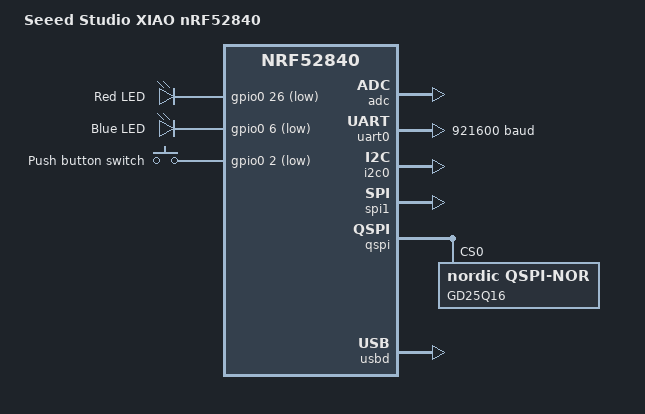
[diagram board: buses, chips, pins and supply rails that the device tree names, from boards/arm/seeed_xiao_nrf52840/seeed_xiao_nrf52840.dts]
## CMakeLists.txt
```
cmake_minimum_required(VERSION 3.20.0)

set(BOARD_ROOT ${CMAKE_CURRENT_LIST_DIR})

# The CI workflow only knows the two nRF52840 board names. The XIAO build is
# the development target; the other job is redirected to an nRF52832 board to
# check that the firmware fits the coin cell tags.
if(BOARD STREQUAL "adafruit_feather_nrf52840")
    set(BOARD nrf52dk_nrf52832 CACHE STRING "" FORCE)
    set(CONF_FILE "${CMAKE_CURRENT_LIST_DIR}/prj_tag.conf;${CMAKE_CURRENT_LIST_DIR}/tag.conf")
else()
    set(CONF_FILE "${CMAKE_CURRENT_LIST_DIR}/prj_tag.conf;${CMAKE_CURRENT_LIST_DIR}/xiao.conf")
endif()

set_property(GLOBAL APPEND PROPERTY extra_post_build_commands
    COMMAND sh ${CMAKE_CURRENT_LIST_DIR}/ramtop.sh)

find_package(Zephyr REQUIRED HINTS $ENV{ZEPHYR_BASE})

# debug build: logs go out over USB CDC ACM, so remove the driver's own
# "ring buffer full" message, which otherwise floods the log recursively
set(_cdc_acm_src ${ZEPHYR_BASE}/subsys/usb/device/class/cdc_acm.c)
file(READ ${_cdc_acm_src} _cdc_acm_content)
string(REGEX REPLACE "LOG_[A-Z]+\\(\"Ring buffer full, drain buffer\"\\);" "" _cdc_acm_patched "${_cdc_acm_content}")
if(NOT "${_cdc_acm_patched}" STREQUAL "${_cdc_acm_content}")
    file(WRITE ${_cdc_acm_src} "${_cdc_acm_patched}")
    message(STATUS "patched cdc_acm.c")
else()
    message(WARNING "cdc_acm.c not patched")
endif()

include(${CMAKE_CURRENT_LIST_DIR}/gatt_dm_patch.cmake)
project(NONE)

target_sources(app PRIVATE
    src/tag_main.c
    src/ble_out.c
    src/battery.c
    src/hid_parse.c
    src/remap.c
)
```

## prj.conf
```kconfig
CONFIG_LOG=y
CONFIG_LOG_MAX_LEVEL=4
CONFIG_LOG_FUNC_NAME_PREFIX_INF=y
CONFIG_LOG_BUFFER_SIZE=16384

CONFIG_USE_DT_CODE_PARTITION=y
CONFIG_KERNEL_BIN_NAME="remapper"
CONFIG_BUILD_OUTPUT_UF2=y

CONFIG_CPLUSPLUS=y
CONFIG_STD_CPP17=y
CONFIG_NEWLIB_LIBC=y
CONFIG_LIB_CPLUSPLUS=y

CONFIG_HEAP_MEM_POOL_SIZE=16384
CONFIG_SYSTEM_WORKQUEUE_STACK_SIZE=16384

CONFIG_FLASH=y
CONFIG_FLASH_PAGE_LAYOUT=y
CONFIG_FLASH_MAP=y
CONFIG_NVS=y
CONFIG_SETTINGS=y

CONFIG_GPIO=y

CONFIG_BT=y
CONFIG_BT_DEBUG_LOG=y
CONFIG_BT_CENTRAL=y
CONFIG_BT_SMP=y
CONFIG_BT_L2CAP_TX_BUF_COUNT=5
CONFIG_BT_GATT_CLIENT=y
CONFIG_BT_GATT_DM=y
CONFIG_BT_HOGP=y
CONFIG_BT_SCAN=y
CONFIG_BT_SCAN_FILTER_ENABLE=y
CONFIG_BT_SCAN_UUID_CNT=1
CONFIG_BT_SCAN_ADDRESS_CNT=8
CONFIG_BT_PRIVACY=y
CONFIG_BT_SETTINGS=y
CONFIG_BT_MAX_CONN=8
CONFIG_BT_MAX_PAIRED=32
CONFIG_BT_KEYS_OVERWRITE_OLDEST=y
CONFIG_BT_GATT_DM_MAX_ATTRS=100
CONFIG_BT_HOGP_REPORTS_MAX=32
CONFIG_BT_DEVICE_NAME="HID Remapper Bluetooth"
CONFIG_ENABLE_HID_INT_OUT_EP=y

CONFIG_USB_DEVICE_STACK=y
CONFIG_USB_DEVICE_HID=y
CONFIG_USB_HID_DEVICE_COUNT=2
CONFIG_USB_HID_POLL_INTERVAL_MS=1
CONFIG_USB_NRFX_EVT_QUEUE_SIZE=64
CONFIG_USB_DEVICE_VID=0xCAFE
CONFIG_USB_DEVICE_PID=0xBAF2
CONFIG_USB_DEVICE_MANUFACTURER="nRF52840"
CONFIG_USB_DEVICE_PRODUCT="HID Remapper Bluetooth"
CONFIG_USB_SELF_POWERED=n
CONFIG_USB_DEVICE_SOF=y
CONFIG_HID_INTERRUPT_EP_MPS=64

# Bluetooth HID output (peripheral role towards the host)
CONFIG_BT_PERIPHERAL=y
CONFIG_BT_DEVICE_APPEARANCE=961
CONFIG_BT_HIDS=y
CONFIG_BT_HIDS_MAX_CLIENT_COUNT=1
CONFIG_BT_HIDS_INPUT_REP_MAX=2
CONFIG_BT_HIDS_OUTPUT_REP_MAX=1
CONFIG_BT_HIDS_FEATURE_REP_MAX=1
CONFIG_BT_HIDS_DEFAULT_PERM_RW_ENCRYPT=y
CONFIG_BT_GATT_UUID16_POOL_SIZE=40
CONFIG_BT_GATT_CHRC_POOL_SIZE=20
CONFIG_BT_CONN_CTX=y
CONFIG_BT_DIS=y
CONFIG_BT_DIS_PNP=y
CONFIG_BT_DIS_MANUF="nRF52840"
CONFIG_BT_DIS_MODEL="HID Remapper Bluetooth"
CONFIG_BT_DIS_PNP_VID_SRC=2
CONFIG_BT_DIS_PNP_VID=0xCAFE
CONFIG_BT_DIS_PNP_PID=0xBAF2
CONFIG_BT_DIS_PNP_VER=0x0100

# debug build: logs over USB CDC ACM
CONFIG_USB_COMPOSITE_DEVICE=y
CONFIG_USB_CDC_ACM=y
CONFIG_SERIAL=y
CONFIG_CONSOLE=y
CONFIG_UART_CONSOLE=y
CONFIG_UART_LINE_CTRL=y
CONFIG_LOG_BACKEND_UART=y
```

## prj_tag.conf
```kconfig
CONFIG_LOG=y
CONFIG_LOG_BUFFER_SIZE=1024
CONFIG_KERNEL_BIN_NAME="remapper"
CONFIG_REBOOT=y

CONFIG_HEAP_MEM_POOL_SIZE=8192
CONFIG_SYSTEM_WORKQUEUE_STACK_SIZE=4096
CONFIG_MAIN_STACK_SIZE=4096

CONFIG_FLASH=y
CONFIG_FLASH_PAGE_LAYOUT=y
CONFIG_FLASH_MAP=y
CONFIG_NVS=y
CONFIG_SETTINGS=y

CONFIG_GPIO=y

CONFIG_BT=y
CONFIG_BT_DEVICE_NAME="HID Remapper Bluetooth"
CONFIG_BT_DEVICE_APPEARANCE=961
CONFIG_BT_SMP=y
CONFIG_BT_SETTINGS=y
CONFIG_BT_PRIVACY=y
CONFIG_BT_MAX_CONN=2
CONFIG_BT_MAX_PAIRED=4
CONFIG_BT_KEYS_OVERWRITE_OLDEST=y
CONFIG_BT_L2CAP_TX_BUF_COUNT=5

# central role: the keyboard
CONFIG_BT_CENTRAL=y
CONFIG_BT_GATT_CLIENT=y
CONFIG_BT_GATT_DM=y
CONFIG_BT_GATT_DM_MAX_ATTRS=100
CONFIG_BT_HOGP=y
CONFIG_BT_HOGP_REPORTS_MAX=12
CONFIG_BT_SCAN=y
CONFIG_BT_SCAN_FILTER_ENABLE=y
CONFIG_BT_SCAN_UUID_CNT=1
CONFIG_BT_SCAN_ADDRESS_CNT=4

# peripheral role: we are a keyboard for the host
CONFIG_BT_PERIPHERAL=y
CONFIG_BT_HIDS=y
CONFIG_BT_HIDS_MAX_CLIENT_COUNT=1
CONFIG_BT_HIDS_INPUT_REP_MAX=2
CONFIG_BT_HIDS_OUTPUT_REP_MAX=1
CONFIG_BT_HIDS_FEATURE_REP_MAX=1
CONFIG_BT_HIDS_DEFAULT_PERM_RW_ENCRYPT=y
CONFIG_BT_GATT_UUID16_POOL_SIZE=40
CONFIG_BT_GATT_CHRC_POOL_SIZE=20
CONFIG_BT_CONN_CTX=y
CONFIG_BT_DIS=y
CONFIG_BT_DIS_PNP=y
CONFIG_BT_DIS_MANUF="nRF52840"
CONFIG_BT_DIS_MODEL="HID Remapper Bluetooth"
CONFIG_BT_DIS_PNP_VID_SRC=2
CONFIG_BT_DIS_PNP_VID=0xCAFE
CONFIG_BT_DIS_PNP_PID=0xBAF2
CONFIG_BT_DIS_PNP_VER=0x0100

# battery level for the host
CONFIG_ADC=y
CONFIG_BT_BAS=y

# host link: let the board sleep through most connection events when no key
# is pressed (it still sends at once when there is something to send)
CONFIG_BT_GAP_AUTO_UPDATE_CONN_PARAMS=y
CONFIG_BT_PERIPHERAL_PREF_MIN_INT=12
CONFIG_BT_PERIPHERAL_PREF_MAX_INT=12
CONFIG_BT_PERIPHERAL_PREF_LATENCY=30
CONFIG_BT_PERIPHERAL_PREF_TIMEOUT=400
```

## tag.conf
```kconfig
# Coin cell nRF52832 tags. No serial port (it costs current); logs are
# available over the debug probe (RTT) instead.
CONFIG_SERIAL=n
CONFIG_CONSOLE=n
CONFIG_UART_CONSOLE=n
CONFIG_USE_SEGGER_RTT=y
CONFIG_LOG_BACKEND_RTT=y
CONFIG_LOG_BACKEND_UART=n

# The tags are not guaranteed to have the DC/DC inductors or a 32 kHz
# crystal, and the firmware doesn't start without them if they're assumed.
CONFIG_BOARD_ENABLE_DCDC=n
CONFIG_CLOCK_CONTROL_NRF_K32SRC_RC=y
```

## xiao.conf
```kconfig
# Seeed XIAO nRF52840: development target. UF2 bootloader, logs over USB serial.
CONFIG_USE_DT_CODE_PARTITION=y
CONFIG_BUILD_OUTPUT_UF2=y

CONFIG_USB_DEVICE_STACK=y
CONFIG_USB_DEVICE_VID=0xCAFE
CONFIG_USB_DEVICE_PID=0xBAF3
CONFIG_USB_DEVICE_MANUFACTURER="nRF52840"
CONFIG_USB_DEVICE_PRODUCT="Keyboard Relay (debug)"
CONFIG_USB_CDC_ACM=y
CONFIG_SERIAL=y
CONFIG_CONSOLE=y
CONFIG_UART_CONSOLE=y
CONFIG_UART_LINE_CTRL=y
CONFIG_LOG_BACKEND_UART=y
```

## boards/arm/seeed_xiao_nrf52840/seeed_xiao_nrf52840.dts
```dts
/*
 * Copyright (c) 2020 Tobias Svehagen
 *
 * SPDX-License-Identifier: Apache-2.0
 */

/dts-v1/;
#include <nordic/nrf52840_qiaa.dtsi>
#include "seeed_xiao_nrf52840-pinctrl.dtsi"

/ {
	model = "Seeed Studio XIAO nRF52840";
	compatible = "seeed,xiao-nrf52840";

	chosen {
		zephyr,console = &cdc_acm_uart0;
		zephyr,shell-uart = &uart0;
		zephyr,uart-mcumgr = &uart0;
		zephyr,bt-mon-uart = &uart0;
		zephyr,bt-c2h-uart = &uart0;
		zephyr,sram = &sram0;
		zephyr,flash = &flash0;
		zephyr,code-partition = &code_partition;
	};

	leds {
		compatible = "gpio-leds";
		led0: led_0 {
			gpios = <&gpio0 26 GPIO_ACTIVE_LOW>;
			label = "Red LED";
		};
		led1: led_1 {
			gpios = <&gpio0 6 GPIO_ACTIVE_LOW>;
			label = "Blue LED";
		};
	};

	buttons {
		compatible = "gpio-keys";
		button0: button_0 {
			gpios = <&gpio0 2 (GPIO_PULL_UP | GPIO_ACTIVE_LOW)>;
			label = "Push button switch";
		};
	};

	/* These aliases are provided for compatibility with samples */
	aliases {
		led0 = &led0;
		led1 = &led1;
		sw0 = &button0;
	};
};

&adc {
	status = "okay";
};

&gpiote {
	status = "okay";
};

&gpio0 {
	status = "okay";
};

&gpio1 {
	status = "okay";
};

&uart0 {
	compatible = "nordic,nrf-uart";
	current-speed = <921600>;
	status = "okay";
	pinctrl-0 = <&uart0_default>;
	pinctrl-1 = <&uart0_sleep>;
	pinctrl-names = "default", "sleep";
};

&i2c0 {
	compatible = "nordic,nrf-twi";
	status = "okay";
	pinctrl-0 = <&i2c0_default>;
	pinctrl-1 = <&i2c0_sleep>;
	pinctrl-names = "default", "sleep";
};

&spi1 {
	compatible = "nordic,nrf-spi";
	status = "okay";
	pinctrl-0 = <&spi1_default>;
	pinctrl-1 = <&spi1_sleep>;
	pinctrl-names = "default", "sleep";
};

&qspi {
	status = "okay";
	pinctrl-0 = <&qspi_default>;
	pinctrl-1 = <&qspi_sleep>;
	pinctrl-names = "default", "sleep";
	gd25q16: gd25q16@0 {
		compatible = "nordic,qspi-nor";
		reg = <0>;
		writeoc = "pp4o";
		readoc = "read4io";
		sck-frequency = <16000000>;
		label = "GD25Q16";
		jedec-id = [c8 40 15];
		size = <16777216>;
		has-dpd;
		t-enter-dpd = <20000>;
		t-exit-dpd = <20000>;
		quad-enable-requirements = "S2B1v1";
	};
};

&flash0 {

	partitions {
		compatible = "fixed-partitions";
		#address-cells = <1>;
		#size-cells = <1>;

        sd_partition: partition@0 {
            label = "softdevice";
            reg = <0x00000000 0x00027000>;
        };

        code_partition: partition@27000 {
            label = "code_partition";
            reg = <0x00027000 0x000c5000>;
        };

        storage_partition: partition@ec000 {
            label = "storage";
            reg = <0x000ec000 0x00008000>;
        };

        boot_partition: partition@f4000 {
            label = "adafruit_boot";
            reg = <0x000f4000 0x0000c000>;
        };
	};
};

zephyr_udc0: &usbd {
	compatible = "nordic,nrf-usbd";
	status = "okay";

	cdc_acm_uart0: cdc_acm_uart0 {
		compatible = "zephyr,cdc-acm-uart";
	};
};
```

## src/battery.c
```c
#include "battery.h"

#include <hal/nrf_saadc.h>
#include <zephyr/bluetooth/services/bas.h>
#include <zephyr/device.h>
#include <zephyr/drivers/adc.h>
#include <zephyr/kernel.h>
#include <zephyr/logging/log.h>

LOG_MODULE_REGISTER(battery, LOG_LEVEL_INF);

#define MEASURE_INTERVAL K_MINUTES(5)

static const struct device* const adc = DEVICE_DT_GET(DT_NODELABEL(adc));

// VDD measured directly: gain 1/6 with the 0.6 V internal reference gives a
// 0..3.6 V range.
static const struct adc_channel_cfg channel_cfg = {
    .gain = ADC_GAIN_1_6,
    .reference = ADC_REF_INTERNAL,
    .acquisition_time = ADC_ACQ_TIME(ADC_ACQ_TIME_MICROSECONDS, 10),
    .channel_id = 0,
    .input_positive = SAADC_CH_PSELP_PSELP_VDD,
};

static uint16_t millivolts;
static uint8_t percent = 100;

// CR2032 under a light load: flat around 2.9-3.0 V for most of its life,
// then it drops quickly.
static const struct {
    uint16_t mv;
    uint8_t pct;
} curve[] = {
    { 3000, 100 },
    { 2900, 80 },
    { 2800, 60 },
    { 2700, 40 },
    { 2600, 20 },
    { 2400, 5 },
    { 2000, 0 },
};

static uint8_t mv_to_percent(uint16_t mv) {
    if (mv >= curve[0].mv) {
        return 100;
    }
    for (int i = 1; i < ARRAY_SIZE(curve); i++) {
        if (mv >= curve[i].mv) {
            uint32_t span_mv = curve[i - 1].mv - curve[i].mv;
            uint32_t span_pct = curve[i - 1].pct - curve[i].pct;
            return curve[i].pct + ((mv - curve[i].mv) * span_pct) / span_mv;
        }
    }
    return 0;
}

static void measure_work_fn(struct k_work* work);
static K_WORK_DELAYABLE_DEFINE(measure_work, measure_work_fn);

static void measure_work_fn(struct k_work* work) {
    int16_t sample = 0;
    const struct adc_sequence sequence = {
        .channels = BIT(0),
        .buffer = &sample,
        .buffer_size = sizeof(sample),
        .resolution = 12,
    };

    int err = adc_read(adc, &sequence);
    if (err) {
        LOG_ERR("adc_read failed: %d", err);
    } else {
        if (sample < 0) {
            sample = 0;
        }
        millivolts = ((uint32_t) sample * 3600) / 4096;
        percent = mv_to_percent(millivolts);
        bt_bas_set_battery_level(percent);
        LOG_INF("battery: %u mV, %u%%", millivolts, percent);
    }

    k_work_reschedule(&measure_work, MEASURE_INTERVAL);
}

void battery_init(void) {
    if (!device_is_ready(adc)) {
        LOG_ERR("ADC not ready");
        return;
    }

    int err = adc_channel_setup(adc, &channel_cfg);
    if (err) {
        LOG_ERR("adc_channel_setup failed: %d", err);
        return;
    }

    k_work_reschedule(&measure_work, K_SECONDS(2));
}

uint16_t battery_millivolts(void) {
    return millivolts;
}

uint8_t battery_percent(void) {
    return percent;
}
```

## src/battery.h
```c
#ifndef _BATTERY_H_
#define _BATTERY_H_

#include <stdint.h>

// Measures the supply voltage (the coin cell on the tags) and publishes it
// through the Bluetooth Battery Service, so the host can show the level.
void battery_init(void);
uint16_t battery_millivolts(void);
uint8_t battery_percent(void);

#endif
```

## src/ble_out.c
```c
#include "ble_out.h"

#include <string.h>

#include <bluetooth/services/hids.h>
#include <zephyr/bluetooth/bluetooth.h>
#include <zephyr/bluetooth/conn.h>
#include <zephyr/bluetooth/gatt.h>
#include <zephyr/bluetooth/uuid.h>
#include <zephyr/kernel.h>
#include <zephyr/logging/log.h>
#include <zephyr/settings/settings.h>

LOG_MODULE_REGISTER(ble_out, LOG_LEVEL_INF);

// These must match firmware/src/our_descriptor.cc (keyboard/mouse descriptor).
#define REPORT_ID_KEYBOARD 2
#define REPORT_ID_CONSUMER 3
#define REPORT_ID_LEDS 98

#define KEYBOARD_REPORT_SIZE 16
#define CONSUMER_REPORT_SIZE 3
#define LEDS_REPORT_SIZE 1

#define KEYBOARD_REPORT_IDX 0
#define CONSUMER_REPORT_IDX 1

BT_HIDS_DEF(hids_obj, KEYBOARD_REPORT_SIZE, CONSUMER_REPORT_SIZE, LEDS_REPORT_SIZE);

// Keyboard and consumer collections copied from our_report_descriptor_kb_mouse.
// The mouse part is left out: the BLE report map is limited to 255 bytes and
// the host should see a plain keyboard.
static const uint8_t report_map[] = {
    0x05, 0x01,                // Usage Page (Generic Desktop Ctrls)
    0x09, 0x06,                // Usage (Keyboard)
    0xA1, 0x01,                // Collection (Application)
    0x85, REPORT_ID_KEYBOARD,  //   Report ID (REPORT_ID_KEYBOARD)
    0x05, 0x07,                //   Usage Page (Kbrd/Keypad)
    0x19, 0xE0,                //   Usage Minimum (0xE0)
    0x29, 0xE7,                //   Usage Maximum (0xE7)
    0x15, 0x00,                //   Logical Minimum (0)
    0x25, 0x01,                //   Logical Maximum (1)
    0x75, 0x01,                //   Report Size (1)
    0x95, 0x08,                //   Report Count (8)
    0x81, 0x02,                //   Input (Data,Var,Abs,No Wrap,Linear,Preferred State,No Null Position)
    0x19, 0x04,                //   Usage Minimum (0x04)
    0x29, 0x73,                //   Usage Maximum (0x73)
    0x95, 0x70,                //   Report Count (112)
    0x81, 0x02,                //   Input (Data,Var,Abs,No Wrap,Linear,Preferred State,No Null Position)
    0x19, 0x87,                //   Usage Minimum (0x87)
    0x29, 0x8B,                //   Usage Maximum (0x8B)
    0x95, 0x05,                //   Report Count (5)
    0x81, 0x02,                //   Input (Data,Var,Abs,No Wrap,Linear,Preferred State,No Null Position)
    0x09, 0x90,                //   Usage (0x90)
    0x09, 0x91,                //   Usage (0x91)
    0x95, 0x02,                //   Report Count (2)
    0x81, 0x02,                //   Input (Data,Var,Abs,No Wrap,Linear,Preferred State,No Null Position)
    0x95, 0x01,                //   Report Count (1)
    0x81, 0x03,                //   Input (Const,Var,Abs,No Wrap,Linear,Preferred State,No Null Position)
    0x85, REPORT_ID_LEDS,      //   Report ID (REPORT_ID_LEDS)
    0x05, 0x08,                //   Usage Page (LEDs)
    0x95, 0x05,                //   Report Count (5)
    0x19, 0x01,                //   Usage Minimum (Num Lock)
    0x29, 0x05,                //   Usage Maximum (Kana)
    0x91, 0x02,                //   Output (Data,Var,Abs,No Wrap,Linear,Preferred State,No Null Position,Non-volatile)
    0x95, 0x01,                //   Report Count (1)
    0x75, 0x03,                //   Report Size (3)
    0x91, 0x03,                //   Output (Const,Var,Abs,No Wrap,Linear,Preferred State,No Null Position,Non-volatile)
    0xC0,                      // End Collection

    0x05, 0x0C,                // Usage Page (Consumer)
    0x09, 0x01,                // Usage (Consumer Control)
    0xA1, 0x01,                // Collection (Application)
    0x85, REPORT_ID_CONSUMER,  //   Report ID (REPORT_ID_CONSUMER)
    0x15, 0x00,                //   Logical Minimum (0)
    0x25, 0x01,                //   Logical Maximum (1)
    0x09, 0xB5,                //   Usage (Scan Next Track)
    0x09, 0xB6,                //   Usage (Scan Previous Track)
    0x09, 0xB7,                //   Usage (Stop)
    0x09, 0xCD,                //   Usage (Play/Pause)
    0x09, 0xE2,                //   Usage (Mute)
    0x09, 0xE9,                //   Usage (Volume Increment)
    0x09, 0xEA,                //   Usage (Volume Decrement)
    0x09, 0x30,                //   Usage (Power)
    0x09, 0x40,                //   Usage (Menu)
    0x09, 0x6F,                //   Usage (Display Brightness Increment)
    0x09, 0x70,                //   Usage (Display Brightness Decrement)
    0x09, 0x71,                //   Usage (Display Brightness)
    0x09, 0xB8,                //   Usage (Eject)
    0x09, 0xCF,                //   Usage (Voice Command)
    0x0A, 0x21, 0x02,          //   Usage (AC Search)
    0x0A, 0x23, 0x02,          //   Usage (AC Home)
    0x0A, 0x9D, 0x02,          //   Usage (Keyboard Layout Select / Globe)
    0x75, 0x01,                //   Report Size (1)
    0x95, 0x11,                //   Report Count (17)
    0x81, 0x02,                //   Input (Data,Var,Abs,No Wrap,Linear,Preferred State,No Null Position)
    0x05, 0x0B,                //   Usage Page (Telephony)
    0x09, 0x2F,                //   Usage (Phone Mute)
    0x95, 0x01,                //   Report Count (1)
    0x81, 0x02,                //   Input (Data,Var,Abs,No Wrap,Linear,Preferred State,No Null Position)
    0x95, 0x06,                //   Report Count (6)
    0x81, 0x03,                //   Input (Const,Var,Abs,No Wrap,Linear,Preferred State,No Null Position)
    0xC0,                      // End Collection
};

BUILD_ASSERT(sizeof(report_map) <= 255, "BLE report map too long");

static struct bt_conn* host_conn;
static atomic_t in_flight = ATOMIC_INIT(0);

static uint8_t pending_data[2][KEYBOARD_REPORT_SIZE];
static bool pending[2];
static bt_addr_le_t host_addr;
static bool host_addr_valid;

static const struct bt_data ad[] = {
    BT_DATA_BYTES(BT_DATA_GAP_APPEARANCE, 0xC1, 0x03),  // keyboard
    BT_DATA_BYTES(BT_DATA_FLAGS, (BT_LE_AD_GENERAL | BT_LE_AD_NO_BREDR)),
    BT_DATA_BYTES(BT_DATA_UUID16_ALL, BT_UUID_16_ENCODE(BT_UUID_HIDS_VAL)),
};

static const struct bt_data sd[] = {
    BT_DATA(BT_DATA_NAME_COMPLETE, CONFIG_BT_DEVICE_NAME, sizeof(CONFIG_BT_DEVICE_NAME) - 1),
};

static void adv_work_fn(struct k_work* work);
static K_WORK_DELAYABLE_DEFINE(adv_work, adv_work_fn);

// Advertise quickly for a while so the host reconnects at once, then slowly
// (about once a second) so that waiting for an absent host costs very little.
#define ADV_FAST_PERIOD K_MINUTES(3)
#define ADV_SLOW BT_LE_ADV_PARAM(BT_LE_ADV_OPT_CONNECTABLE, BT_GAP_ADV_SLOW_INT_MIN, BT_GAP_ADV_SLOW_INT_MAX, NULL)

static void adv_slow_work_fn(struct k_work* work);
static K_WORK_DELAYABLE_DEFINE(adv_slow_work, adv_slow_work_fn);

static void adv_work_fn(struct k_work* work) {
    if (host_conn != NULL) {
        return;
    }

    bt_le_adv_stop();
    int err = bt_le_adv_start(BT_LE_ADV_CONN, ad, ARRAY_SIZE(ad), sd, ARRAY_SIZE(sd));
    if (err == 0) {
        LOG_INF("advertising as keyboard");
        k_work_reschedule(&adv_slow_work, ADV_FAST_PERIOD);
    } else if (err != -EALREADY) {
        LOG_ERR("bt_le_adv_start failed: %d", err);
        k_work_reschedule(&adv_work, K_SECONDS(2));
    }
}

static void adv_slow_work_fn(struct k_work* work) {
    if (host_conn != NULL) {
        return;
    }

    bt_le_adv_stop();
    int err = bt_le_adv_start(ADV_SLOW, ad, ARRAY_SIZE(ad), sd, ARRAY_SIZE(sd));
    if (err == 0) {
        LOG_INF("host not around, advertising slowly");
    } else {
        LOG_ERR("slow bt_le_adv_start failed: %d", err);
        k_work_reschedule(&adv_work, K_SECONDS(2));
    }
}

static void leds_handler(struct bt_hids_rep* rep, struct bt_conn* conn, bool write) {
}

int ble_out_init(void) {
    static struct bt_hids_init_param hids_init_param;

    memset(&hids_init_param, 0, sizeof(hids_init_param));

    hids_init_param.rep_map.data = report_map;
    hids_init_param.rep_map.size = sizeof(report_map);

    hids_init_param.info.bcd_hid = 0x0111;
    hids_init_param.info.b_country_code = 0x00;
    hids_init_param.info.flags = (BT_HIDS_REMOTE_WAKE | BT_HIDS_NORMALLY_CONNECTABLE);

    hids_init_param.inp_rep_group_init.reports[KEYBOARD_REPORT_IDX].id = REPORT_ID_KEYBOARD;
    hids_init_param.inp_rep_group_init.reports[KEYBOARD_REPORT_IDX].size = KEYBOARD_REPORT_SIZE;
    hids_init_param.inp_rep_group_init.reports[CONSUMER_REPORT_IDX].id = REPORT_ID_CONSUMER;
    hids_init_param.inp_rep_group_init.reports[CONSUMER_REPORT_IDX].size = CONSUMER_REPORT_SIZE;
    hids_init_param.inp_rep_group_init.cnt = 2;

    hids_init_param.outp_rep_group_init.reports[0].id = REPORT_ID_LEDS;
    hids_init_param.outp_rep_group_init.reports[0].size = LEDS_REPORT_SIZE;
    hids_init_param.outp_rep_group_init.reports[0].handler = leds_handler;
    hids_init_param.outp_rep_group_init.cnt = 1;

    hids_init_param.is_kb = false;
    hids_init_param.is_mouse = false;

    int err = bt_hids_init(&hids_obj, &hids_init_param);
    if (err) {
        LOG_ERR("bt_hids_init failed: %d", err);
    }
    return err;
}

void ble_out_adv_start(void) {
    k_work_reschedule(&adv_work, K_MSEC(200));
}

bool ble_out_is_host(struct bt_conn* conn) {
    if (conn == host_conn) {
        return true;
    }

    struct bt_conn_info info;
    if (bt_conn_get_info(conn, &info)) {
        return false;
    }
    return info.role == BT_CONN_ROLE_PERIPHERAL;
}

bool ble_out_host_connected(void) {
    return host_conn != NULL;
}

bool ble_out_host_known(void) {
    return host_addr_valid;
}

void ble_out_connected(struct bt_conn* conn, uint8_t conn_err) {
    if (conn_err) {
        LOG_ERR("host connection failed: %u", conn_err);
        ble_out_adv_start();
        return;
    }

    LOG_INF("host connected");

    if (host_conn != NULL) {
        bt_conn_unref(host_conn);
    }
    host_conn = bt_conn_ref(conn);
    atomic_set(&in_flight, 0);
    pending[0] = false;
    pending[1] = false;

    int err = bt_hids_connected(&hids_obj, conn);
    if (err) {
        LOG_ERR("bt_hids_connected failed: %d", err);
    }

    err = bt_conn_set_security(conn, BT_SECURITY_L2);
    if (err) {
        LOG_WRN("bt_conn_set_security failed: %d", err);
    }
}

void ble_out_disconnected(struct bt_conn* conn) {
    LOG_INF("host disconnected");

    int err = bt_hids_disconnected(&hids_obj, conn);
    if (err) {
        LOG_ERR("bt_hids_disconnected failed: %d", err);
    }

    if (host_conn != NULL) {
        bt_conn_unref(host_conn);
        host_conn = NULL;
    }

    ble_out_adv_start();
}

void ble_out_set_host_addr(const bt_addr_le_t* addr) {
    bt_addr_le_copy(&host_addr, addr);
    host_addr_valid = true;
}

void ble_out_remember_host(struct bt_conn* conn) {
    const bt_addr_le_t* addr = bt_conn_get_dst(conn);

    if (host_addr_valid && (bt_addr_le_cmp(&host_addr, addr) == 0)) {
        return;
    }

    ble_out_set_host_addr(addr);

    int err = settings_save_one("remapper/host", &host_addr, sizeof(host_addr));
    if (err) {
        LOG_ERR("saving host address failed: %d", err);
    }
}

bool ble_out_is_host_addr(const bt_addr_le_t* addr) {
    return host_addr_valid && (bt_addr_le_cmp(&host_addr, addr) == 0);
}

void ble_out_forget_host(void) {
    host_addr_valid = false;
    settings_delete("remapper/host");
}

// bt_hids_inp_rep_send() blocks when the stack runs out of TX buffers, which
// would stall the main loop. So we only keep a few notifications in flight
// and remember the latest report of each kind to send once there's room.
#define MAX_IN_FLIGHT 3

static const uint8_t report_sizes_by_idx[2] = { KEYBOARD_REPORT_SIZE, CONSUMER_REPORT_SIZE };

static void flush_work_fn(struct k_work* work);
static K_WORK_DELAYABLE_DEFINE(flush_work, flush_work_fn);
static K_MUTEX_DEFINE(send_mutex);

static void notify_complete_cb(struct bt_conn* conn, void* user_data) {
    if (atomic_get(&in_flight) > 0) {
        atomic_dec(&in_flight);
    }
    if (pending[0] || pending[1]) {
        k_work_reschedule(&flush_work, K_NO_WAIT);
    }
}

static bool try_send(uint8_t idx, const uint8_t* data) {
    if (atomic_get(&in_flight) >= MAX_IN_FLIGHT) {
        return false;
    }

    atomic_inc(&in_flight);
    int err = bt_hids_inp_rep_send(&hids_obj, host_conn, idx, data, report_sizes_by_idx[idx], notify_complete_cb);
    if (err) {
        atomic_dec(&in_flight);
        // not subscribed yet or similar; nothing to retry
    }
    return true;
}

void ble_out_poll(void) {
    if (host_conn == NULL) {
        return;
    }

    k_mutex_lock(&send_mutex, K_FOREVER);
    for (uint8_t idx = 0; idx < 2; idx++) {
        if (pending[idx] && try_send(idx, pending_data[idx])) {
            pending[idx] = false;
        }
    }
    k_mutex_unlock(&send_mutex);
}

static void flush_work_fn(struct k_work* work) {
    ble_out_poll();
    if ((host_conn != NULL) && (pending[0] || pending[1])) {
        k_work_reschedule(&flush_work, K_MSEC(5));
    }
}

bool ble_out_send(uint8_t report_id, const uint8_t* data, uint8_t len) {
    uint8_t idx;

    if (host_conn == NULL) {
        return false;
    }

    switch (report_id) {
        case REPORT_ID_KEYBOARD:
            idx = KEYBOARD_REPORT_IDX;
            break;
        case REPORT_ID_CONSUMER:
            idx = CONSUMER_REPORT_IDX;
            break;
        default:
            return false;
    }

    if (len != report_sizes_by_idx[idx]) {
        return false;
    }

    k_mutex_lock(&send_mutex, K_FOREVER);
    if (pending[idx] || !try_send(idx, data)) {
        // keep only the latest state; it's sent once there's room
        memcpy(pending_data[idx], data, len);
        pending[idx] = true;
        k_work_reschedule(&flush_work, K_MSEC(5));
    }
    k_mutex_unlock(&send_mutex);

    return true;
}
```

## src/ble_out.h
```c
#ifndef _BLE_OUT_H_
#define _BLE_OUT_H_

#include <stdbool.h>
#include <stdint.h>

#include <zephyr/bluetooth/addr.h>
#include <zephyr/bluetooth/conn.h>

#ifdef __cplusplus
extern "C" {
#endif

// Bluetooth HID output: the remapper acts as a BLE keyboard (peripheral role)
// towards a host, in addition to being a central for the input devices.

int ble_out_init(void);
void ble_out_adv_start(void);

// True if this connection is the one where we are the peripheral (to the host).
bool ble_out_is_host(struct bt_conn* conn);
void ble_out_connected(struct bt_conn* conn, uint8_t conn_err);
void ble_out_disconnected(struct bt_conn* conn);
bool ble_out_host_connected(void);
// True if a host has been paired (whether or not it's connected right now).
bool ble_out_host_known(void);

// Remember which bond belongs to the host so that the scanner doesn't treat it as an input device.
void ble_out_remember_host(struct bt_conn* conn);
void ble_out_set_host_addr(const bt_addr_le_t* addr);
bool ble_out_is_host_addr(const bt_addr_le_t* addr);
void ble_out_forget_host(void);

bool ble_out_send(uint8_t report_id, const uint8_t* data, uint8_t len);
// Call regularly from the main loop: sends reports that had to wait.
void ble_out_poll(void);

#ifdef __cplusplus
}
#endif

#endif
```

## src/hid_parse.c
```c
// Minimal HID report descriptor parser: just enough to find keyboard and
// consumer control input fields. No dynamic memory.

#include "hid_parse.h"

#include <string.h>

#define MAX_FIELDS 24
#define MAX_LIST_USAGES 96
#define MAX_REPORT_IDS 8

#define PAGE_KEYBOARD 0x07
#define PAGE_CONSUMER 0x0C

struct field {
    uint8_t report_id;
    uint16_t bit_offset;
    uint8_t bit_size;
    uint8_t count;
    bool is_array;
    uint16_t usage_page;
    // either a usage range...
    uint16_t usage_min;
    uint16_t usage_max;
    int32_t logical_min;
    // ...or an explicit list (variable fields with individual usages)
    uint8_t list_start;
    uint8_t list_count;
};

static struct field fields[MAX_FIELDS];
static int field_count;
static uint32_t list_usages[MAX_LIST_USAGES];
static int list_usage_count;

struct report_offset {
    uint8_t report_id;
    uint16_t bits;
};

static bool interesting_page(uint16_t page) {
    return (page == PAGE_KEYBOARD) || (page == PAGE_CONSUMER);
}

int hid_parse_descriptor(const uint8_t* desc, uint16_t len) {
    struct report_offset offsets[MAX_REPORT_IDS];
    int offset_count = 0;

    uint16_t usage_page = 0;
    int32_t logical_min = 0;
    uint8_t report_size = 0;
    uint8_t report_count = 0;
    uint8_t report_id = 0;

    // local state, reset after every main item
    uint32_t local_usages[32];
    int local_usage_count = 0;
    uint32_t usage_min = 0;
    uint32_t usage_max = 0;
    bool have_range = false;

    field_count = 0;
    list_usage_count = 0;
    memset(offsets, 0, sizeof(offsets));

    uint16_t i = 0;
    while (i < len) {
        uint8_t prefix = desc[i];

        if (prefix == 0xFE) {  // long item: skip
            if (i + 2 >= len) {
                break;
            }
            i += 3 + desc[i + 1];
            continue;
        }

        uint8_t size = prefix & 0x03;
        if (size == 3) {
            size = 4;
        }
        uint8_t type = (prefix >> 2) & 0x03;
        uint8_t tag = (prefix >> 4) & 0x0F;

        if (i + 1 + size > len) {
            break;
        }

        uint32_t value = 0;
        for (uint8_t b = 0; b < size; b++) {
            value |= ((uint32_t) desc[i + 1 + b]) << (8 * b);
        }
        int32_t svalue = (int32_t) value;
        if (size == 1) {
            svalue = (int8_t) value;
        } else if (size == 2) {
            svalue = (int16_t) value;
        }

        i += 1 + size;

        if (type == 1) {  // global
            switch (tag) {
                case 0x0:
                    usage_page = (uint16_t) value;
                    break;
                case 0x1:
                    logical_min = svalue;
                    break;
                case 0x7:
                    report_size = (uint8_t) value;
                    break;
                case 0x8:
                    report_id = (uint8_t) value;
                    break;
                case 0x9:
                    report_count = (uint8_t) value;
                    break;
                default:
                    break;
            }
        } else if (type == 2) {  // local
            // a 4 byte usage carries its own usage page
            uint32_t full = (size == 4) ? value : HID_USAGE(usage_page, value);
            switch (tag) {
                case 0x0:
                    if (local_usage_count < (int) (sizeof(local_usages) / sizeof(local_usages[0]))) {
                        local_usages[local_usage_count++] = full;
                    }
                    break;
                case 0x1:
                    usage_min = full;
                    have_range = true;
                    break;
                case 0x2:
                    usage_max = full;
                    have_range = true;
                    break;
                default:
                    break;
            }
        } else if (type == 0) {  // main
            if (tag == 0x8) {  // input
                struct report_offset* ro = NULL;
                for (int k = 0; k < offset_count; k++) {
                    if (offsets[k].report_id == report_id) {
                        ro = &offsets[k];
                        break;
                    }
                }
                if ((ro == NULL) && (offset_count < MAX_REPORT_IDS)) {
                    ro = &offsets[offset_count++];
                    ro->report_id = report_id;
                    ro->bits = 0;
                }

                bool is_const = value & 0x01;
                bool is_variable = value & 0x02;
                uint16_t total_bits = (uint16_t) report_size * report_count;

                if ((ro != NULL) && !is_const && (field_count < MAX_FIELDS)) {
                    struct field f;
                    memset(&f, 0, sizeof(f));
                    f.report_id = report_id;
                    f.bit_offset = ro->bits;
                    f.bit_size = report_size;
                    f.count = report_count;
                    f.is_array = !is_variable;
                    f.logical_min = logical_min;

                    bool keep = false;

                    if (have_range) {
                        f.usage_page = usage_min >> 16;
                        f.usage_min = usage_min & 0xFFFF;
                        f.usage_max = usage_max & 0xFFFF;
                        keep = interesting_page(f.usage_page);
                    } else if (local_usage_count > 0) {
                        f.usage_page = local_usages[0] >> 16;
                        if (list_usage_count + local_usage_count <= MAX_LIST_USAGES) {
                            f.list_start = list_usage_count;
                            f.list_count = local_usage_count;
                            for (int k = 0; k < local_usage_count; k++) {
                                list_usages[list_usage_count++] = local_usages[k];
                                if (interesting_page(local_usages[k] >> 16)) {
                                    keep = true;
                                }
                            }
                        }
                    }

                    if (keep) {
                        fields[field_count++] = f;
                    }
                }

                if (ro != NULL) {
                    ro->bits += total_bits;
                }
            }

            // any main item resets the local state
            local_usage_count = 0;
            have_range = false;
            usage_min = 0;
            usage_max = 0;
        }
    }

    return field_count;
}

static uint32_t get_bits(const uint8_t* data, uint16_t len, uint16_t bit_offset, uint8_t bit_size) {
    uint32_t value = 0;
    for (uint8_t b = 0; b < bit_size; b++) {
        uint16_t bit = bit_offset + b;
        uint16_t byte = bit >> 3;
        if (byte >= len) {
            break;
        }
        if (data[byte] & (1 << (bit & 7))) {
            value |= (1UL << b);
        }
    }
    return value;
}

int hid_extract(uint8_t report_id, const uint8_t* data, uint16_t len, uint32_t* out, int max) {
    int n = 0;

    for (int k = 0; k < field_count; k++) {
        const struct field* f = &fields[k];
        if (f->report_id != report_id) {
            continue;
        }

        for (uint8_t e = 0; e < f->count; e++) {
            if ((f->bit_size == 0) || (f->bit_size > 32)) {
                break;
            }
            uint32_t value = get_bits(data, len, f->bit_offset + (uint16_t) e * f->bit_size, f->bit_size);
            uint32_t usage = 0;

            if (f->is_array) {
                // the value selects a usage
                if (f->list_count > 0) {
                    int32_t idx = (int32_t) value - f->logical_min;
                    if ((idx < 0) || (idx >= f->list_count)) {
                        continue;
                    }
                    usage = list_usages[f->list_start + idx];
                } else {
                    int32_t id = (int32_t) f->usage_min + ((int32_t) value - f->logical_min);
                    if ((id <= 0) || (id > f->usage_max)) {
                        continue;
                    }
                    usage = HID_USAGE(f->usage_page, id);
                }
            } else {
                // one element per usage; non-zero means active
                if (value == 0) {
                    continue;
                }
                if (f->list_count > 0) {
                    if (e >= f->list_count) {
                        continue;
                    }
                    usage = list_usages[f->list_start + e];
                } else {
                    uint32_t id = (uint32_t) f->usage_min + e;
                    if (id > f->usage_max) {
                        continue;
                    }
                    usage = HID_USAGE(f->usage_page, id);
                }
            }

            if (((usage & 0xFFFF) == 0) || !interesting_page(usage >> 16)) {
                continue;
            }
            if (n < max) {
                out[n++] = usage;
            }
        }
    }

    return n;
}
```

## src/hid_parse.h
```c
#ifndef _HID_PARSE_H_
#define _HID_PARSE_H_

#include <stdbool.h>
#include <stdint.h>

// A usage is stored as (usage page << 16) | usage id.
#define HID_USAGE(page, id) (((uint32_t) (page) << 16) | (uint32_t) (id))

// Parses a HID report descriptor and remembers where the keyboard (page 0x07)
// and consumer (page 0x0C) input fields are. Returns the number of fields kept.
int hid_parse_descriptor(const uint8_t* desc, uint16_t len);

// Extracts the usages that are active in one input report.
// Returns the number of usages written to out.
int hid_extract(uint8_t report_id, const uint8_t* data, uint16_t len, uint32_t* out, int max);

#endif
```

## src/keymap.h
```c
#ifndef _KEYMAP_H_
#define _KEYMAP_H_

// The key layout. Edit this file, rebuild and flash to change the mapping.

#include "hid_parse.h"

#define KEY(id) HID_USAGE(0x07, id)
#define CONSUMER(id) HID_USAGE(0x0C, id)

// keyboard page usages
#define K_3 0x20
#define K_A 0x04
#define K_D 0x07
#define K_E 0x08
#define K_F 0x09
#define K_G 0x0A
#define K_R 0x15
#define K_S 0x16
#define K_W 0x1A
#define K_BACKSPACE 0x2A
#define K_CAPS_LOCK 0x39
#define K_DELETE_FORWARD 0x4C
#define K_RIGHT 0x4F
#define K_LEFT 0x50
#define K_DOWN 0x51
#define K_UP 0x52
#define K_LEFT_CTRL 0xE0
#define K_LEFT_SHIFT 0xE1
#define K_LEFT_ALT 0xE2
#define K_LEFT_GUI 0xE3
#define K_RIGHT_CTRL 0xE4
#define K_RIGHT_SHIFT 0xE5
#define K_RIGHT_ALT 0xE6
#define K_RIGHT_GUI 0xE7

// consumer page usages
#define C_GLOBE 0x029D

#define LAYER0 0x01  // normal typing
#define LAYER1 0x02  // while the layer key is held
#define ALL_LAYERS (LAYER0 | LAYER1)

// Holding this key activates layer 1. The key itself is not sent to the host.
#define LAYER1_KEY KEY(K_RIGHT_ALT)

struct mapping {
    uint32_t source;
    uint8_t layers;
    uint32_t target[2];  // up to two usages are sent while the source is held
};

// A key that has no entry for the active layer is passed through unchanged.
static const struct mapping keymap[] = {
    // right Option layer: arrows, line start/end, delete
    { KEY(K_S), LAYER1, { KEY(K_LEFT), 0 } },
    { KEY(K_D), LAYER1, { KEY(K_DOWN), 0 } },
    { KEY(K_F), LAYER1, { KEY(K_RIGHT), 0 } },
    { KEY(K_E), LAYER1, { KEY(K_UP), 0 } },
    { KEY(K_A), LAYER1, { KEY(K_LEFT_GUI), KEY(K_LEFT) } },
    { KEY(K_G), LAYER1, { KEY(K_LEFT_GUI), KEY(K_RIGHT) } },
    { KEY(K_W), LAYER1, { KEY(K_BACKSPACE), 0 } },
    { KEY(K_R), LAYER1, { KEY(K_DELETE_FORWARD), 0 } },

    // Globe (fn) key works as Command, Command keys switch the input language
    { CONSUMER(C_GLOBE), ALL_LAYERS, { KEY(K_LEFT_GUI), 0 } },
    { KEY(K_LEFT_GUI), ALL_LAYERS, { KEY(K_CAPS_LOCK), 0 } },
    { KEY(K_RIGHT_GUI), ALL_LAYERS, { KEY(K_CAPS_LOCK), 0 } },
};

#endif
```

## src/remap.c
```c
// Fixed-table key remapper. Keeps track of what is held on the keyboard,
// applies keymap.h and produces the reports that ble_out sends to the host.

#include "remap.h"

#include <stdbool.h>
#include <string.h>

#include <zephyr/kernel.h>
#include <zephyr/logging/log.h>
#include <zephyr/sys/util.h>

#include "ble_out.h"
#include "hid_parse.h"
#include "keymap.h"

// These must match the report map in ble_out.c.
#define REPORT_ID_KEYBOARD 2
#define REPORT_ID_CONSUMER 3
#define KEYBOARD_REPORT_SIZE 16
#define CONSUMER_REPORT_SIZE 3

// Consumer usages in the order of their bits in the consumer report.
static const uint16_t consumer_bits[] = {
    0x00B5, 0x00B6, 0x00B7, 0x00CD, 0x00E2, 0x00E9, 0x00EA, 0x0030, 0x0040,
    0x006F, 0x0070, 0x0071, 0x00B8, 0x00CF, 0x0221, 0x0223, 0x029D,
};

// The keyboard sends several kinds of reports (keys, consumer keys, ...).
// What is held is tracked separately for each of them.
#define MAX_SLOTS 6
#define MAX_HELD 16

struct slot {
    bool used;
    uint8_t report_id;
    uint8_t count;
    uint32_t held[MAX_HELD];
};

static struct slot slots[MAX_SLOTS];

LOG_MODULE_REGISTER(remap, LOG_LEVEL_INF);

// The keyboard's top row has keys that are not keys of their own: the
// keyboard presses a combination for them (Globe+Up for the app switcher,
// Globe+E for emoji, Command+Shift+3 for a screenshot). Those must reach the
// host unchanged, even though Globe and Command are swapped for the keys
// under the fingers. They can be told apart by timing: the keyboard sends the
// whole combination at once, a person doesn't.
//
// So when Globe or Command goes down, nothing is sent for a moment. If the
// rest of one of those combinations shows up within that time, the modifier
// is passed through as it is; otherwise it is remapped as usual.
#define COMBO_WINDOW_MS 40

enum { SWAP_GLOBE, SWAP_GUI, SWAP_COUNT };

static struct {
    bool held;
    bool pending;  // just pressed, not decided yet, nothing sent
    bool raw;      // part of a keyboard-made combination: pass through
    int64_t since;
} swaps[SWAP_COUNT];

static K_MUTEX_DEFINE(remap_mutex);

static void recompute(void);

static void window_work_fn(struct k_work* work) {
    k_mutex_lock(&remap_mutex, K_FOREVER);
    recompute();
    k_mutex_unlock(&remap_mutex);
}
static K_WORK_DELAYABLE_DEFINE(window_work, window_work_fn);

static int swap_index(uint32_t usage) {
    if (usage == CONSUMER(C_GLOBE)) {
        return SWAP_GLOBE;
    }
    if ((usage == KEY(K_LEFT_GUI)) || (usage == KEY(K_RIGHT_GUI))) {
        return SWAP_GUI;
    }
    return -1;
}

static bool is_modifier(uint32_t usage) {
    return (usage >= KEY(0xE0)) && (usage <= KEY(0xE7));
}

static bool is_held(uint32_t usage) {
    for (int s = 0; s < MAX_SLOTS; s++) {
        for (int i = 0; slots[s].used && (i < slots[s].count); i++) {
            if (slots[s].held[i] == usage) {
                return true;
            }
        }
    }
    return false;
}

// Number of held keys that are neither modifiers, Globe nor the layer key.
static int plain_keys_held(void) {
    int n = 0;
    for (int s = 0; s < MAX_SLOTS; s++) {
        for (int i = 0; slots[s].used && (i < slots[s].count); i++) {
            uint32_t usage = slots[s].held[i];
            if (!is_modifier(usage) && (swap_index(usage) < 0)) {
                n++;
            }
        }
    }
    return n;
}

static uint8_t last_keyboard[KEYBOARD_REPORT_SIZE];
static uint8_t last_consumer[CONSUMER_REPORT_SIZE];

static void set_bit(uint8_t* buf, uint16_t bit) {
    buf[bit >> 3] |= (1 << (bit & 7));
}

static void emit(uint32_t usage, uint8_t* keyboard, uint8_t* consumer) {
    uint16_t page = usage >> 16;
    uint16_t id = usage & 0xFFFF;

    if (page == 0x07) {
        if ((id >= 0xE0) && (id <= 0xE7)) {
            set_bit(keyboard, id - 0xE0);
        } else if ((id >= 0x04) && (id <= 0x73)) {
            set_bit(keyboard, 8 + (id - 0x04));
        } else if ((id >= 0x87) && (id <= 0x8B)) {
            set_bit(keyboard, 120 + (id - 0x87));
        } else if ((id == 0x90) || (id == 0x91)) {
            set_bit(keyboard, 125 + (id - 0x90));
        }
    } else if (page == 0x0C) {
        for (size_t i = 0; i < ARRAY_SIZE(consumer_bits); i++) {
            if (consumer_bits[i] == id) {
                set_bit(consumer, i);
                break;
            }
        }
    }
}

static void build(uint8_t layer, uint8_t tap_mask, uint8_t* keyboard, uint8_t* consumer) {
    for (int s = 0; s < MAX_SLOTS; s++) {
        for (int i = 0; slots[s].used && (i < slots[s].count); i++) {
            uint32_t usage = slots[s].held[i];
            if (usage == LAYER1_KEY) {
                continue;
            }

            int swap = swap_index(usage);
            if (swap >= 0) {
                if (swaps[swap].raw) {
                    emit(usage, keyboard, consumer);
                    continue;
                }
                if (swaps[swap].pending) {
                    continue;
                }
            }

            bool mapped = false;
            for (size_t m = 0; m < ARRAY_SIZE(keymap); m++) {
                if ((keymap[m].source == usage) && (keymap[m].layers & layer)) {
                    mapped = true;
                    for (int t = 0; t < 2; t++) {
                        if (keymap[m].target[t] != 0) {
                            emit(keymap[m].target[t], keyboard, consumer);
                        }
                    }
                }
            }
            if (!mapped) {
                emit(usage, keyboard, consumer);
            }
        }
    }

    // a swapped key that was released before it was decided: a quick tap
    static const uint32_t tap_source[SWAP_COUNT] = { CONSUMER(C_GLOBE), KEY(K_LEFT_GUI) };
    for (int w = 0; w < SWAP_COUNT; w++) {
        if (!(tap_mask & BIT(w))) {
            continue;
        }
        for (size_t m = 0; m < ARRAY_SIZE(keymap); m++) {
            if ((keymap[m].source == tap_source[w]) && (keymap[m].layers & layer)) {
                for (int t = 0; t < 2; t++) {
                    if (keymap[m].target[t] != 0) {
                        emit(keymap[m].target[t], keyboard, consumer);
                    }
                }
            }
        }
    }
}

static void send(uint8_t layer, uint8_t tap_mask) {
    uint8_t keyboard[KEYBOARD_REPORT_SIZE] = { 0 };
    uint8_t consumer[CONSUMER_REPORT_SIZE] = { 0 };

    build(layer, tap_mask, keyboard, consumer);

    if (memcmp(keyboard, last_keyboard, sizeof(keyboard)) != 0) {
        memcpy(last_keyboard, keyboard, sizeof(keyboard));
        ble_out_send(REPORT_ID_KEYBOARD, keyboard, sizeof(keyboard));
    }
    if (memcmp(consumer, last_consumer, sizeof(consumer)) != 0) {
        memcpy(last_consumer, consumer, sizeof(consumer));
        ble_out_send(REPORT_ID_CONSUMER, consumer, sizeof(consumer));
    }
}

static void recompute(void) {
    int64_t now = k_uptime_get();
    uint8_t layer = is_held(LAYER1_KEY) ? LAYER1 : LAYER0;
    uint8_t tap_mask = 0;

    bool held_now[SWAP_COUNT] = {
        is_held(CONSUMER(C_GLOBE)),
        is_held(KEY(K_LEFT_GUI)) || is_held(KEY(K_RIGHT_GUI)),
    };
    bool shift = is_held(KEY(K_LEFT_SHIFT)) || is_held(KEY(K_RIGHT_SHIFT));
    int plain = plain_keys_held();

    for (int w = 0; w < SWAP_COUNT; w++) {
        if (held_now[w] && !swaps[w].held) {
            swaps[w].pending = true;
            swaps[w].raw = false;
            swaps[w].since = now;
            k_work_reschedule(&window_work, K_MSEC(COMBO_WINDOW_MS));
        } else if (!held_now[w] && swaps[w].held) {
            if (swaps[w].pending) {
                tap_mask |= BIT(w);
            }
            swaps[w].pending = false;
            swaps[w].raw = false;
        }
        swaps[w].held = held_now[w];

        if (!swaps[w].pending) {
            continue;
        }

        bool combo;
        if (w == SWAP_GLOBE) {
            combo = (plain == 1) && (is_held(KEY(K_UP)) || is_held(KEY(K_E)));
        } else {
            combo = (plain == 1) && shift && is_held(KEY(K_3));
        }

        if (combo) {
            swaps[w].raw = true;
            swaps[w].pending = false;
            LOG_INF("keyboard-made combination %d after %d ms", w, (int) (now - swaps[w].since));
        } else if ((plain > 0) || ((now - swaps[w].since) >= COMBO_WINDOW_MS)) {
            // an ordinary key, or enough time has passed: remap as usual
            swaps[w].pending = false;
        }
    }

    if (tap_mask != 0) {
        send(layer, tap_mask);
    }
    send(layer, 0);
}

void remap_handle_report(uint8_t report_id, const uint8_t* data, uint16_t len) {
    struct slot* slot = NULL;

    for (int s = 0; s < MAX_SLOTS; s++) {
        if (slots[s].used && (slots[s].report_id == report_id)) {
            slot = &slots[s];
            break;
        }
    }
    if (slot == NULL) {
        for (int s = 0; s < MAX_SLOTS; s++) {
            if (!slots[s].used) {
                slot = &slots[s];
                slot->used = true;
                slot->report_id = report_id;
                break;
            }
        }
    }
    if (slot == NULL) {
        return;
    }

#ifdef CONFIG_USB_DEVICE_STACK
    // debug build: show what the keyboard sends and when
    LOG_INF("rep %u len %u: %02x %02x %02x %02x", report_id, len, len > 0 ? data[0] : 0, len > 1 ? data[1] : 0,
            len > 2 ? data[2] : 0, len > 3 ? data[3] : 0);
#endif

    k_mutex_lock(&remap_mutex, K_FOREVER);
    slot->count = hid_extract(report_id, data, len, slot->held, MAX_HELD);
    recompute();
    k_mutex_unlock(&remap_mutex);
}

void remap_reset(void) {
    k_mutex_lock(&remap_mutex, K_FOREVER);
    memset(slots, 0, sizeof(slots));
    memset(swaps, 0, sizeof(swaps));
    recompute();
    k_mutex_unlock(&remap_mutex);
}
```

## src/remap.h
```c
#ifndef _REMAP_H_
#define _REMAP_H_

#include <stdint.h>

// Feeds one input report from the keyboard into the remapper. The resulting
// keyboard/consumer state is sent to the host if it changed.
void remap_handle_report(uint8_t report_id, const uint8_t* data, uint16_t len);

// Forgets everything that is held down (keyboard disconnected) and tells the host.
void remap_reset(void);

#endif
```
